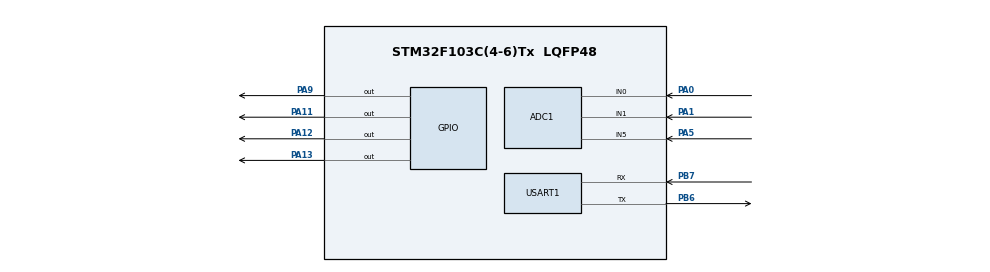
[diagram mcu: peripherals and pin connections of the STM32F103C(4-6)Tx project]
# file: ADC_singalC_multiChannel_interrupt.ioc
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ADC1.Channel-0\#ChannelRegularConversion=ADC_CHANNEL_0
ADC1.Channel-1\#ChannelRegularConversion=ADC_CHANNEL_1
ADC1.Channel-2\#ChannelRegularConversion=ADC_CHANNEL_5
ADC1.DiscontinuousConvMode=ENABLE
ADC1.NbrOfConversion=3
ADC1.NbrOfConversionFlag=1
ADC1.Rank-0\#ChannelRegularConversion=1
ADC1.Rank-1\#ChannelRegularConversion=2
ADC1.Rank-2\#ChannelRegularConversion=3
ADC1.SamplingTime-0\#ChannelRegularConversion=ADC_SAMPLETIME_28CYCLES_5
ADC1.SamplingTime-1\#ChannelRegularConversion=ADC_SAMPLETIME_28CYCLES_5
ADC1.SamplingTime-2\#ChannelRegularConversion=ADC_SAMPLETIME_28CYCLES_5
ADC1.master=1
Mcu.Family=STM32F1
Mcu.Name=STM32F103C(4-6)Tx
Mcu.Package=LQFP48
NVIC.ADC1_2_IRQn=true\:1\:0\:true\:false\:true\:true\:true\:true
NVIC.PriorityGroup=NVIC_PRIORITYGROUP_4
PA0-WKUP.Signal=ADCx_IN0
PA1.Signal=ADCx_IN1
PA11.GPIO_PuPd=GPIO_NOPULL
PA11.GPIO_Speed=GPIO_SPEED_FREQ_LOW
PA11.Signal=GPIO_Output
PA12.GPIO_PuPd=GPIO_PULLDOWN
PA12.Signal=GPIO_Output
PA13.GPIO_PuPd=GPIO_PULLDOWN
PA13.Signal=GPIO_Output
PA5.Signal=ADCx_IN5
PA9.Signal=GPIO_Output
PB6.Mode=Asynchronous
PB6.Signal=USART1_TX
PB7.Mode=Asynchronous
PB7.Signal=USART1_RX
ProjectManager.HeapSize=0x200
ProjectManager.StackSize=0x400
ProjectManager.TargetToolchain=STM32CubeIDE
RCC.APB1Freq_Value=8000000
RCC.APB2Freq_Value=8000000
SH.ADCx_IN0.0=ADC1_IN0,IN0
SH.ADCx_IN1.0=ADC1_IN1,IN1
SH.ADCx_IN5.0=ADC1_IN5,IN5
USART1.VirtualMode=VM_ASYNC
VP_SYS_VS_ND.Mode=No_Debug
board=custom

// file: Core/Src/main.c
/* USER CODE BEGIN Header */
/**
  ******************************************************************************
  * @file           : main.c
  * @brief          : Main program body
  ******************************************************************************
  * @attention
  *
  * Copyright (c) 2024 STMicroelectronics.
  * All rights reserved.
  *
  * This software is licensed under terms that can be found in the LICENSE file
  * in the root directory of this software component.
  * If no LICENSE file comes with this software, it is provided AS-IS.
  *
  ******************************************************************************
  */
/* USER CODE END Header */
#include "main.h"

/* USER CODE BEGIN Includes */
#include "stdio.h"
#include "string.h"
#include "stm32f1xx_hal.h"
/* USER CODE END Includes */

ADC_HandleTypeDef hadc1;

UART_HandleTypeDef huart1;

void SystemClock_Config(void);
static void MX_GPIO_Init(void);
static void MX_USART1_UART_Init(void);
static void MX_ADC1_Init(void);

/* USER CODE BEGIN 0 */
volatile uint8_t currentChannel = 0;
volatile uint8_t ADCFinishFlag = 0;
ADC_ChannelConfTypeDef sConfig = {0};
float TempVar = 0;

uint32_t Voltage[3];
uint8_t MSG[30];
uint8_t MSG2[30];
float ADC_Result[3] = {0};

void ADC_LEDs(float a, int i){

	if(i==0){
		if(a >3){
			HAL_GPIO_WritePin(GPIOA, GPIO_PIN_11, GPIO_PIN_SET);
		}
		else{HAL_GPIO_WritePin(GPIOA, GPIO_PIN_11, GPIO_PIN_RESET);}
	}
	if(i==1){
			if(a >1){
				HAL_GPIO_WritePin(GPIOA, GPIO_PIN_12, GPIO_PIN_SET);
			}
			else{HAL_GPIO_WritePin(GPIOA, GPIO_PIN_12, GPIO_PIN_RESET);}
		}
	if(i==2){
			if(a >4){
				HAL_GPIO_WritePin(GPIOA, GPIO_PIN_13, GPIO_PIN_SET);
			}
			else{HAL_GPIO_WritePin(GPIOA, GPIO_PIN_13, GPIO_PIN_RESET);}
		}

}

void HAL_ADC_ConvCpltCallback(ADC_HandleTypeDef* hadc) {

        ADC_Result[currentChannel] = HAL_ADC_GetValue(hadc);

        currentChannel++;
        if (currentChannel < 3) {

            if (currentChannel == 1) {
                sConfig.Channel = ADC_CHANNEL_1;
            } else if (currentChannel == 2) {
                sConfig.Channel = ADC_CHANNEL_5;
            }
            sConfig.Rank = 1;

            HAL_ADC_Start_IT(&hadc1);

        } else {
            ADCFinishFlag = 1;
        }

}
/* USER CODE END 0 */

int main(void)
{

  /* MCU Configuration--------------------------------------------------------*/

  /* Reset of all peripherals, Initializes the Flash interface and the Systick. */
  HAL_Init();

  /* Configure the system clock */
  SystemClock_Config();

  /* Initialize all configured peripherals */
  MX_GPIO_Init();
  MX_USART1_UART_Init();
  MX_ADC1_Init();
  /* USER CODE BEGIN 2 */
  HAL_ADC_Start_IT(&hadc1);
  currentChannel = 0;
      ADC_ChannelConfTypeDef sConfig = {0};
      sConfig.Channel = ADC_CHANNEL_0;
      sConfig.Rank = 1;
  /* USER CODE END 2 */

  /* Infinite loop */
  while (1)
  {

    /* USER CODE BEGIN 3 */
	  if (ADCFinishFlag) {
	              for (int i = 0; i < 3; i++) {
	                  float voltage = ADC_Result[i] * 5.0 / 4095.0;
	                  sprintf((char *)MSG, "Voltage %d= %0.2f V\r\n", i, voltage);
	                  ADC_LEDs(voltage , i);
	                  HAL_UART_Transmit(&huart1, MSG, strlen((char *)MSG), 100);
	                  HAL_Delay(100);
	              }
	              sprintf((char *)MSG2, "______________\r\n");
				  HAL_UART_Transmit(&huart1, MSG2, strlen((char *)MSG2), 100);
				  HAL_Delay(100);

	              ADCFinishFlag = 0;
	              currentChannel = 0;

	              sConfig.Channel = ADC_CHANNEL_0;
	              if (HAL_ADC_ConfigChannel(&hadc1, &sConfig) != HAL_OK) {
	                  Error_Handler();
	              }
	              HAL_ADC_Start_IT(&hadc1);
	          }
	          HAL_Delay(100);
	          HAL_GPIO_WritePin(GPIOA, GPIO_PIN_9, GPIO_PIN_SET);
	          HAL_Delay(100);
	          HAL_GPIO_WritePin(GPIOA, GPIO_PIN_9, GPIO_PIN_RESET);

  }
  /* USER CODE END 3 */
}

void SystemClock_Config(void)
{
  RCC_OscInitTypeDef RCC_OscInitStruct = {0};
  RCC_ClkInitTypeDef RCC_ClkInitStruct = {0};
  RCC_PeriphCLKInitTypeDef PeriphClkInit = {0};

  /** Initializes the RCC Oscillators according to the specified parameters
  * in the RCC_OscInitTypeDef structure.
  */
  RCC_OscInitStruct.OscillatorType = RCC_OSCILLATORTYPE_HSI;
  RCC_OscInitStruct.HSIState = RCC_HSI_ON;
  RCC_OscInitStruct.HSICalibrationValue = RCC_HSICALIBRATION_DEFAULT;
  RCC_OscInitStruct.PLL.PLLState = RCC_PLL_NONE;
  if (HAL_RCC_OscConfig(&RCC_OscInitStruct) != HAL_OK)
  {
    Error_Handler();
  }

  /** Initializes the CPU, AHB and APB buses clocks
  */
  RCC_ClkInitStruct.ClockType = RCC_CLOCKTYPE_HCLK|RCC_CLOCKTYPE_SYSCLK
                              |RCC_CLOCKTYPE_PCLK1|RCC_CLOCKTYPE_PCLK2;
  RCC_ClkInitStruct.SYSCLKSource = RCC_SYSCLKSOURCE_HSI;
  RCC_ClkInitStruct.AHBCLKDivider = RCC_SYSCLK_DIV1;
  RCC_ClkInitStruct.APB1CLKDivider = RCC_HCLK_DIV1;
  RCC_ClkInitStruct.APB2CLKDivider = RCC_HCLK_DIV1;

  if (HAL_RCC_ClockConfig(&RCC_ClkInitStruct, FLASH_LATENCY_0) != HAL_OK)
  {
    Error_Handler();
  }
  PeriphClkInit.PeriphClockSelection = RCC_PERIPHCLK_ADC;
  PeriphClkInit.AdcClockSelection = RCC_ADCPCLK2_DIV2;
  if (HAL_RCCEx_PeriphCLKConfig(&PeriphClkInit) != HAL_OK)
  {
    Error_Handler();
  }
}

static void MX_ADC1_Init(void)
{

  ADC_ChannelConfTypeDef sConfig = {0};

  /** Common config
  */
  hadc1.Instance = ADC1;
  hadc1.Init.ScanConvMode = ADC_SCAN_ENABLE;
  hadc1.Init.ContinuousConvMode = DISABLE;
  hadc1.Init.DiscontinuousConvMode = ENABLE;
  hadc1.Init.NbrOfDiscConversion = 1;
  hadc1.Init.ExternalTrigConv = ADC_SOFTWARE_START;
  hadc1.Init.DataAlign = ADC_DATAALIGN_RIGHT;
  hadc1.Init.NbrOfConversion = 3;
  if (HAL_ADC_Init(&hadc1) != HAL_OK)
  {
    Error_Handler();
  }

  /** Configure Regular Channel
  */
  sConfig.Channel = ADC_CHANNEL_0;
  sConfig.Rank = ADC_REGULAR_RANK_1;
  sConfig.SamplingTime = ADC_SAMPLETIME_28CYCLES_5;
  if (HAL_ADC_ConfigChannel(&hadc1, &sConfig) != HAL_OK)
  {
    Error_Handler();
  }

  /** Configure Regular Channel
  */
  sConfig.Channel = ADC_CHANNEL_1;
  sConfig.Rank = ADC_REGULAR_RANK_2;
  if (HAL_ADC_ConfigChannel(&hadc1, &sConfig) != HAL_OK)
  {
    Error_Handler();
  }

  /** Configure Regular Channel
  */
  sConfig.Channel = ADC_CHANNEL_5;
  sConfig.Rank = ADC_REGULAR_RANK_3;
  if (HAL_ADC_ConfigChannel(&hadc1, &sConfig) != HAL_OK)
  {
    Error_Handler();
  }

}

static void MX_USART1_UART_Init(void)
{

  huart1.Instance = USART1;
  huart1.Init.BaudRate = 115200;
  huart1.Init.WordLength = UART_WORDLENGTH_8B;
  huart1.Init.StopBits = UART_STOPBITS_1;
  huart1.Init.Parity = UART_PARITY_NONE;
  huart1.Init.Mode = UART_MODE_TX_RX;
  huart1.Init.HwFlowCtl = UART_HWCONTROL_NONE;
  huart1.Init.OverSampling = UART_OVERSAMPLING_16;
  if (HAL_UART_Init(&huart1) != HAL_OK)
  {
    Error_Handler();
  }

}

static void MX_GPIO_Init(void)
{
  GPIO_InitTypeDef GPIO_InitStruct = {0};

  /* GPIO Ports Clock Enable */
  __HAL_RCC_GPIOA_CLK_ENABLE();
  __HAL_RCC_GPIOB_CLK_ENABLE();

  /*Configure GPIO pin Output Level */
  HAL_GPIO_WritePin(GPIOA, GPIO_PIN_9|GPIO_PIN_11|GPIO_PIN_12|GPIO_PIN_13, GPIO_PIN_RESET);

  /*Configure GPIO pins : PA9 PA11 */
  GPIO_InitStruct.Pin = GPIO_PIN_9|GPIO_PIN_11;
  GPIO_InitStruct.Mode = GPIO_MODE_OUTPUT_PP;
  GPIO_InitStruct.Pull = GPIO_NOPULL;
  GPIO_InitStruct.Speed = GPIO_SPEED_FREQ_LOW;
  HAL_GPIO_Init(GPIOA, &GPIO_InitStruct);

  /*Configure GPIO pins : PA12 PA13 */
  GPIO_InitStruct.Pin = GPIO_PIN_12|GPIO_PIN_13;
  GPIO_InitStruct.Mode = GPIO_MODE_OUTPUT_PP;
  GPIO_InitStruct.Pull = GPIO_PULLDOWN;
  GPIO_InitStruct.Speed = GPIO_SPEED_FREQ_LOW;
  HAL_GPIO_Init(GPIOA, &GPIO_InitStruct);

}

void Error_Handler(void)
{
  __disable_irq();
  while (1)
  {
  }
}
